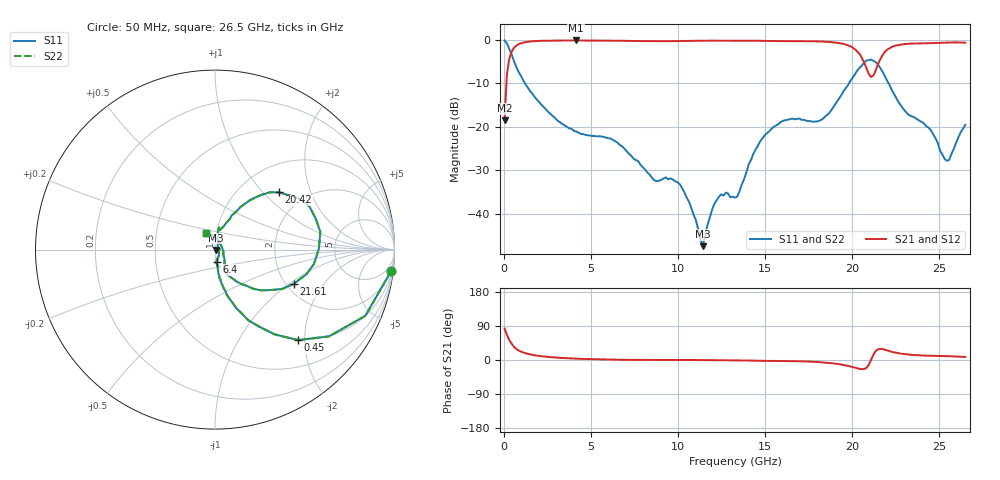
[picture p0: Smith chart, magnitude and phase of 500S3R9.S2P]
!  American Technical Ceramics  Date:  3/6/98
!  One Norden Lane
!  Huntington Station,  NY.  11746-2102
!  Tel:  (516) 547-5700  Fax:  (516) 547-5748
!  Part Number  500S3R9
!  Description: Broadband Microwave capacitor
!  Application:
# GHZ S DB R 50
! Freq  |S11|  S11 Ph  |S21|  S21 Ph  |S12|  S12 Ph  |S22|  S22 Ph
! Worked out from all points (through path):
!   201 points, 50 MHz to 26.5 GHz, reference 50 ohm
!   highest |S21| = -0.10 dB at 4.15 GHz (marker M1); lowest = -18.5 dB at 50 MHz (marker M2)
!   group delay of S21, straight-line fit = 846 fs
!   lowest |S11| = -47.5 dB at 11.42 GHz (marker M3), VSWR 1.01, Z = 50.4 - j0.178 ohm
!   |S11| at or under -10 dB: 1.216 GHz to 19.82 GHz (18.6 GHz wide, 177 % of centre); 22.09 GHz to end of sweep
!   |S22| runs from -47.5 to -0.1 dB; largest |S21 - S12| = 0
!   S11 on the Smith chart (normalised r, x): 50 MHz: 2, -16; 450 MHz: 0.98, -1.86; 6.4 GHz: 1.01, -0.14; 20.42 GHz: 1.49, +1.24; 21.61 GHz: 2.19, -1.08; 26.5 GHz: 0.89, +0.16
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0.05  -0.10 -7.0  -18.50 82.7  -18.50 82.7  -0.10 -7.0
0.18  -0.77 -23.8  -8.02 66.6  -8.02 66.6  -0.77 -23.8
0.45  -3.30 -47.5  -2.73 43.2  -2.73 43.2  -3.30 -47.5
0.84  -7.25 -64.9  -1.01 25.7  -1.01 25.7  -7.25 -64.9
1.37  -10.88 -73.6  -0.41 16.3  -0.41 16.3  -10.88 -73.6
4.15  -21.10 -81.2  -0.10 3.6  -0.10 3.6  -21.10 -81.2
4.55  -21.67 -81.6  -0.12 2.9  -0.12 2.9  -21.67 -81.6
6.4  -23.32 -83.0  -0.17 0.9  -0.17 0.9  -23.32 -83.0
8.91  -32.42 -5.8  -0.26 0.0  -0.26 0.0  -32.42 -5.8
10.1  -33.20 17.5  -0.24 0.2  -0.24 0.2  -33.20 17.5
11.42  -47.50 -24.8  -0.16 -0.2  -0.16 -0.2  -47.50 -24.8
12.22  -36.92 -64.8  -0.15 -0.5  -0.15 -0.5  -36.92 -64.8
13.28  -36.33 -4.2  -0.14 -1.0  -0.14 -1.0  -36.33 -4.2
14.99  -21.90 78.0  -0.20 -2.3  -0.20 -2.3  -21.90 78.0
17.77  -18.84 78.2  -0.29 -4.7  -0.29 -4.7  -18.84 78.2
19.49  -11.85 60.0  -0.87 -12.9  -0.87 -12.9  -11.85 60.0
20.42  -6.41 41.9  -3.20 -23.4  -3.20 -23.4  -6.41 41.9
21.08  -4.51 9.5  -8.50 -0.5  -8.50 -0.5  -4.51 9.5
21.61  -6.42 -23.6  -4.47 29.5  -4.47 29.5  -6.42 -23.6
22.14  -10.33 -45.7  -1.90 23.7  -1.90 23.7  -10.33 -45.7
25.44  -27.82 18.9  -0.59 10.2  -0.59 10.2  -27.82 18.9
26.5  -19.53 119.6  -0.62 8.0  -0.62 8.0  -19.53 119.6
